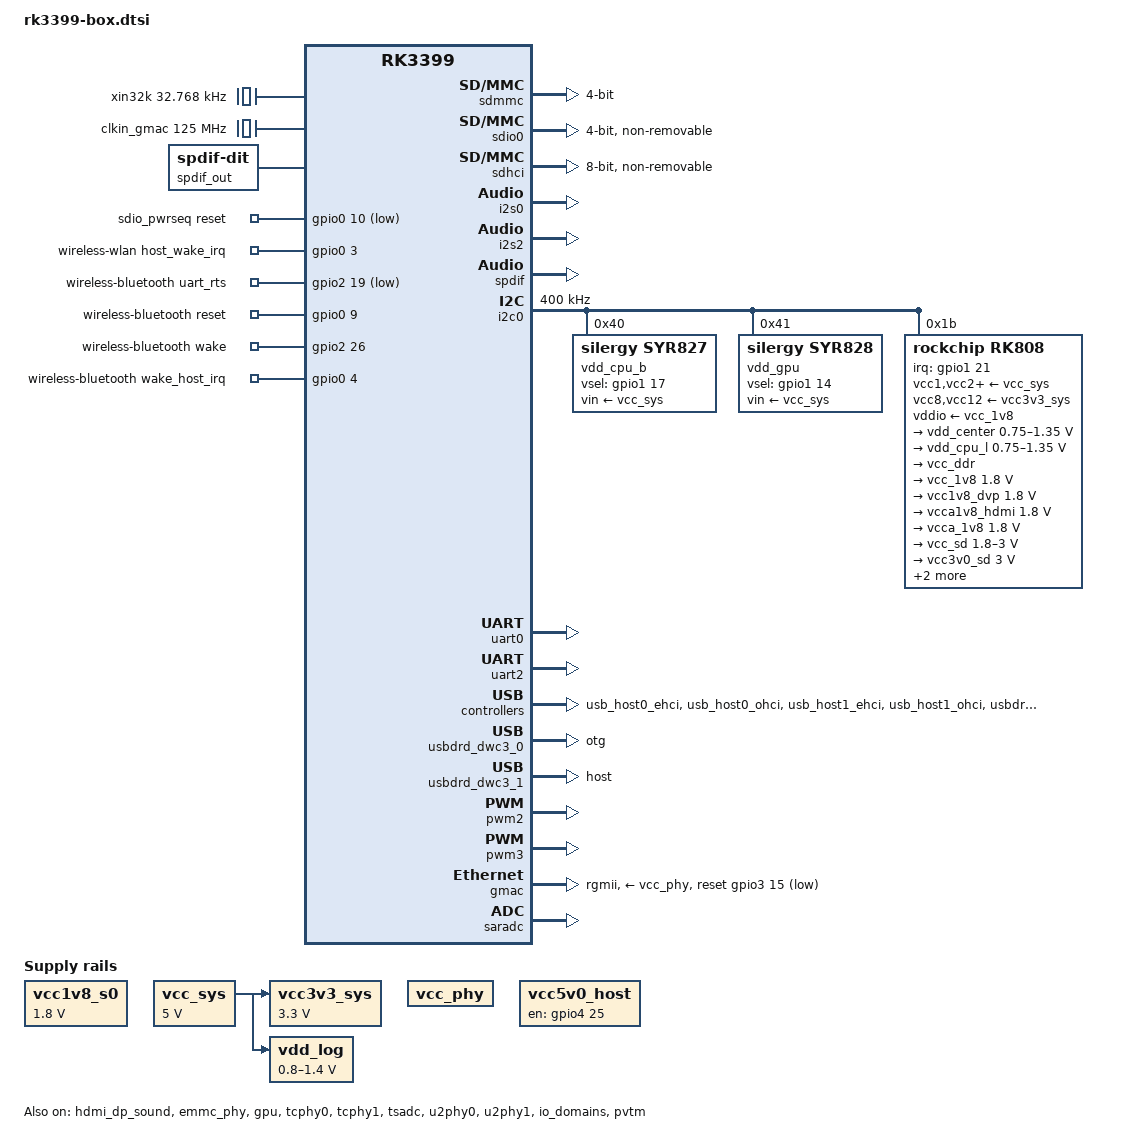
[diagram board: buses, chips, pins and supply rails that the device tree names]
// SPDX-License-Identifier: (GPL-2.0+ OR MIT)
/*
 * Copyright (c) 2022 Rockchip Electronics Co., Ltd.
 *
 */

#include <dt-bindings/pwm/pwm.h>
#include <dt-bindings/input/input.h>
#include "rk3399.dtsi"
#include "rk3399-android.dtsi"
#include "rk3399-opp.dtsi"

/ {
	compatible = "rockchip,rk3399-box","rockchip,rk3399";

	vcc1v8_s0: vcc1v8-s0 {
		compatible = "regulator-fixed";
		regulator-name = "vcc1v8_s0";
		regulator-min-microvolt = <1800000>;
		regulator-max-microvolt = <1800000>;
		regulator-always-on;
	};

	vcc_sys: vcc-sys {
		compatible = "regulator-fixed";
		regulator-name = "vcc_sys";
		regulator-min-microvolt = <5000000>;
		regulator-max-microvolt = <5000000>;
		regulator-always-on;
	};

	vcc_phy: vcc-phy-regulator {
		compatible = "regulator-fixed";
		regulator-name = "vcc_phy";
		regulator-always-on;
		regulator-boot-on;
	};

	vcc3v3_sys: vcc3v3-sys {
		compatible = "regulator-fixed";
		regulator-name = "vcc3v3_sys";
		regulator-min-microvolt = <3300000>;
		regulator-max-microvolt = <3300000>;
		regulator-always-on;
		vin-supply = <&vcc_sys>;
	};

	vcc5v0_host: vcc5v0-host-regulator {
		compatible = "regulator-fixed";
		enable-active-high;
		gpio = <&gpio4 25 GPIO_ACTIVE_HIGH>;
		pinctrl-names = "default";
		pinctrl-0 = <&host_vbus_drv>;
		regulator-name = "vcc5v0_host";
		regulator-always-on;
	};

	vdd_log: vdd-log {
		compatible = "pwm-regulator";
		pwms = <&pwm2 0 25000 1>;
		regulator-name = "vdd_log";
		regulator-min-microvolt = <800000>;
		regulator-max-microvolt = <1400000>;
		regulator-always-on;
		regulator-boot-on;

		/* for rockchip boot on */
		rockchip,pwm_id= <2>;
		rockchip,pwm_voltage = <900000>;

		vin-supply = <&vcc_sys>;
	};

	xin32k: xin32k {
		compatible = "fixed-clock";
		clock-frequency = <32768>;
		clock-output-names = "xin32k";
		#clock-cells = <0>;
	};

	clkin_gmac: external-gmac-clock {
		compatible = "fixed-clock";
		clock-frequency = <125000000>;
		clock-output-names = "clkin_gmac";
		#clock-cells = <0>;
	};

	spdif-sound {
		status = "okay";
		compatible = "simple-audio-card";
		simple-audio-card,name = "ROCKCHIP,SPDIF";
		simple-audio-card,cpu {
			sound-dai = <&spdif>;
		};
		simple-audio-card,codec {
			sound-dai = <&spdif_out>;
		};
	};

	spdif_out: spdif-out {
		status = "okay";
		compatible = "linux,spdif-dit";
		#sound-dai-cells = <0>;
	};

	sdio_pwrseq: sdio-pwrseq {
		compatible = "mmc-pwrseq-simple";
		clocks = <&rk808 1>;
		clock-names = "ext_clock";
		pinctrl-names = "default";
		pinctrl-0 = <&wifi_enable_h>;

		/*
		 * On the module itself this is one of these (depending
		 * on the actual card populated):
		 * - SDIO_RESET_L_WL_REG_ON
		 * - PDN (power down when low)
		 */
		reset-gpios = <&gpio0 10 GPIO_ACTIVE_LOW>;
	};

	wireless-wlan {
		compatible = "wlan-platdata";
		rockchip,grf = <&grf>;
		wifi_chip_type = "ap6354";
		sdio_vref = <1800>;
		WIFI,host_wake_irq = <&gpio0 3 GPIO_ACTIVE_HIGH>;
		status = "okay";
	};

	wireless-bluetooth {
		compatible = "bluetooth-platdata";
		clocks = <&rk808 1>;
		clock-names = "ext_clock";
		/* wifi-bt-power-toggle; */
		uart_rts_gpios = <&gpio2 19 GPIO_ACTIVE_LOW>;
		pinctrl-names = "default", "rts_gpio";
		pinctrl-0 = <&uart0_rts>;
		pinctrl-1 = <&uart0_gpios>;
		/* BT,power_gpio  = <&gpio3 19 GPIO_ACTIVE_HIGH>; */
		BT,reset_gpio    = <&gpio0 9 GPIO_ACTIVE_HIGH>;
		BT,wake_gpio     = <&gpio2 26 GPIO_ACTIVE_HIGH>;
		BT,wake_host_irq = <&gpio0 4 GPIO_ACTIVE_HIGH>;
		status = "okay";
	};

	test-power {
		status = "okay";
	};
};

&hdmi_dp_sound {
	status = "okay";
};

&hdmi {
	pinctrl-names = "default";
	pinctrl-0 = <&hdmi_i2c_xfer>, <&hdmi_cec>;
};

&sdmmc {
	clock-frequency = <100000000>;
	clock-freq-min-max = <100000 100000000>;
	no-sdio;
	no-mmc;
	bus-width = <4>;
	cap-mmc-highspeed;
	cap-sd-highspeed;
	disable-wp;
	num-slots = <1>;
	//sd-uhs-sdr104;
	vqmmc-supply = <&vcc_sd>;
	pinctrl-names = "default";
	pinctrl-0 = <&sdmmc_clk &sdmmc_cmd &sdmmc_cd &sdmmc_bus4>;
	card-detect-delay = <800>;
	status = "okay";
};

&sdio0 {
	clock-frequency = <100000000>;
	clock-freq-min-max = <200000 100000000>;
	no-sd;
	no-mmc;
	bus-width = <4>;
	disable-wp;
	cap-sd-highspeed;
	cap-sdio-irq;
	keep-power-in-suspend;
	mmc-pwrseq = <&sdio_pwrseq>;
	non-removable;
	num-slots = <1>;
	pinctrl-names = "default";
	pinctrl-0 = <&sdio0_bus4 &sdio0_cmd &sdio0_clk>;
	sd-uhs-sdr104;
	status = "okay";
};

&emmc_phy {
	status = "okay";
};

&sdhci {
	bus-width = <8>;
	mmc-hs400-1_8v;
	no-sdio;
	no-sd;
	non-removable;
	mmc-hs400-enhanced-strobe;
	status = "okay";
};

&i2s0 {
	status = "okay";
	rockchip,i2s-broken-burst-len;
	rockchip,playback-channels = <8>;
	rockchip,capture-channels = <8>;
	#sound-dai-cells = <0>;
};

&i2s2 {
	#sound-dai-cells = <0>;
};

&spdif {
	pinctrl-0 = <&spdif_bus_1>;
	status = "okay";
	#sound-dai-cells = <0>;
};

&i2c0 {
	status = "okay";
	i2c-scl-rising-time-ns = <168>;
	i2c-scl-falling-time-ns = <4>;
	clock-frequency = <400000>;

	vdd_cpu_b: syr827@40 {
		compatible = "silergy,syr827";
		reg = <0x40>;
		regulator-compatible = "fan53555-reg";
		pinctrl-0 = <&vsel1_gpio>;
		vsel-gpios = <&gpio1 17 GPIO_ACTIVE_HIGH>;
		regulator-name = "vdd_cpu_b";
		regulator-min-microvolt = <712500>;
		regulator-max-microvolt = <1500000>;
		regulator-ramp-delay = <1000>;
		fcs,suspend-voltage-selector = <1>;
		regulator-always-on;
		regulator-boot-on;
		vin-supply = <&vcc_sys>;
		regulator-state-mem {
			regulator-off-in-suspend;
		};
	};

	vdd_gpu: syr828@41 {
		compatible = "silergy,syr828";
		reg = <0x41>;
		regulator-compatible = "fan53555-reg";
		pinctrl-0 = <&vsel2_gpio>;
		vsel-gpios = <&gpio1 14 GPIO_ACTIVE_HIGH>;
		regulator-name = "vdd_gpu";
		regulator-min-microvolt = <712500>;
		regulator-max-microvolt = <1500000>;
		regulator-ramp-delay = <1000>;
		fcs,suspend-voltage-selector = <1>;
		regulator-always-on;
		regulator-boot-on;
		vin-supply = <&vcc_sys>;
		regulator-initial-mode = <1>; /* 1:force PWM 2:auto */
		regulator-state-mem {
			regulator-off-in-suspend;
		};
	};

	rk808: pmic@1b {
		compatible = "rockchip,rk808";
		reg = <0x1b>;
		interrupt-parent = <&gpio1>;
		interrupts = <21 IRQ_TYPE_LEVEL_LOW>;
		pinctrl-names = "default";
		pinctrl-0 = <&pmic_int_l>;
		rockchip,system-power-controller;
		wakeup-source;
		#clock-cells = <1>;
		clock-output-names = "rk808-clkout1", "rk808-clkout2";

		vcc1-supply = <&vcc_sys>;
		vcc2-supply = <&vcc_sys>;
		vcc3-supply = <&vcc_sys>;
		vcc4-supply = <&vcc_sys>;
		vcc6-supply = <&vcc_sys>;
		vcc7-supply = <&vcc_sys>;
		vcc8-supply = <&vcc3v3_sys>;
		vcc9-supply = <&vcc_sys>;
		vcc10-supply = <&vcc_sys>;
		vcc11-supply = <&vcc_sys>;
		vcc12-supply = <&vcc3v3_sys>;
		vddio-supply = <&vcc_1v8>;

		regulators {
			vdd_center: DCDC_REG1 {
				regulator-name = "vdd_center";
				regulator-min-microvolt = <750000>;
				regulator-max-microvolt = <1350000>;
				regulator-ramp-delay = <6001>;
				regulator-always-on;
				regulator-boot-on;
				regulator-state-mem {
					regulator-off-in-suspend;
				};
			};

			vdd_cpu_l: DCDC_REG2 {
				regulator-name = "vdd_cpu_l";
				regulator-min-microvolt = <750000>;
				regulator-max-microvolt = <1350000>;
				regulator-ramp-delay = <6001>;
				regulator-always-on;
				regulator-boot-on;
				regulator-state-mem {
					regulator-off-in-suspend;
				};
			};

			vcc_ddr: DCDC_REG3 {
				regulator-name = "vcc_ddr";
				regulator-always-on;
				regulator-boot-on;
				regulator-state-mem {
					regulator-on-in-suspend;
				};
			};

			vcc_1v8: DCDC_REG4 {
				regulator-name = "vcc_1v8";
				regulator-min-microvolt = <1800000>;
				regulator-max-microvolt = <1800000>;
				regulator-always-on;
				regulator-boot-on;
				regulator-state-mem {
					regulator-on-in-suspend;
					regulator-suspend-microvolt = <1800000>;
				};
			};

			vcc1v8_dvp: LDO_REG1 {
				regulator-name = "vcc1v8_dvp";
				regulator-min-microvolt = <1800000>;
				regulator-max-microvolt = <1800000>;
				regulator-always-on;
				regulator-boot-on;
				regulator-state-mem {
					regulator-on-in-suspend;
					regulator-suspend-microvolt = <1800000>;
				};
			};

			vcca1v8_hdmi: LDO_REG2 {
				regulator-name = "vcca1v8_hdmi";
				regulator-min-microvolt = <1800000>;
				regulator-max-microvolt = <1800000>;
				regulator-always-on;
				regulator-boot-on;
				regulator-state-mem {
					regulator-on-in-suspend;
					regulator-suspend-microvolt = <1800000>;
				};
			};

			vcca_1v8: LDO_REG3 {
				regulator-name = "vcca_1v8";
				regulator-min-microvolt = <1800000>;
				regulator-max-microvolt = <1800000>;
				regulator-always-on;
				regulator-boot-on;
				regulator-state-mem {
					regulator-on-in-suspend;
					regulator-suspend-microvolt = <1800000>;
				};
			};

			vcc_sd: LDO_REG4 {
				regulator-name = "vcc_sd";
				regulator-min-microvolt = <1800000>;
				regulator-max-microvolt = <3000000>;
				regulator-always-on;
				regulator-boot-on;
				regulator-state-mem {
					regulator-on-in-suspend;
					regulator-suspend-microvolt = <3000000>;
				};
			};

			vcc3v0_sd: LDO_REG5 {
				regulator-name = "vcc3v0_sd";
				regulator-min-microvolt = <3000000>;
				regulator-max-microvolt = <3000000>;
				regulator-always-on;
				regulator-boot-on;
				regulator-state-mem {
					regulator-on-in-suspend;
					regulator-suspend-microvolt = <3000000>;
				};
			};

			vcc_1v5: LDO_REG6 {
				regulator-name = "vcc_1v5";
				regulator-min-microvolt = <1500000>;
				regulator-max-microvolt = <1500000>;
				regulator-always-on;
				regulator-boot-on;
				regulator-state-mem {
					regulator-on-in-suspend;
					regulator-suspend-microvolt = <1500000>;
				};
			};

			vcca0v9_hdmi: LDO_REG7 {
				regulator-name = "vcca0v9_hdmi";
				regulator-min-microvolt = <900000>;
				regulator-max-microvolt = <900000>;
				regulator-always-on;
				regulator-boot-on;
				regulator-state-mem {
					regulator-on-in-suspend;
					regulator-suspend-microvolt = <900000>;
				};
			};

			vcc_3v0: LDO_REG8 {
				regulator-name = "vcc_3v0";
				regulator-min-microvolt = <3000000>;
				regulator-max-microvolt = <3000000>;
				regulator-always-on;
				regulator-boot-on;
				regulator-state-mem {
					regulator-on-in-suspend;
					regulator-suspend-microvolt = <3000000>;
				};
			};

			vcc3v3_s3: SWITCH_REG1 {
				regulator-name = "vcc3v3_s3";
				regulator-always-on;
				regulator-boot-on;
				regulator-state-mem {
					regulator-on-in-suspend;
				};
			};

			vcc3v3_s0: SWITCH_REG2 {
				regulator-name = "vcc3v3_s0";
				regulator-always-on;
				regulator-boot-on;
				regulator-state-mem {
					regulator-on-in-suspend;
				};
			};
		};
	};
};

&cpu_l0 {
	cpu-supply = <&vdd_cpu_l>;
};

&cpu_l1 {
	cpu-supply = <&vdd_cpu_l>;
};

&cpu_l2 {
	cpu-supply = <&vdd_cpu_l>;
};

&cpu_l3 {
	cpu-supply = <&vdd_cpu_l>;
};

&cpu_b0 {
	cpu-supply = <&vdd_cpu_b>;
};

&cpu_b1 {
	cpu-supply = <&vdd_cpu_b>;
};

&firmware_android {
	compatible = "android,firmware";
	fstab {
		compatible = "android,fstab";
		system {
			compatible = "android,system";
			dev = "/dev/block/by-name/system";
			type = "ext4";
			mnt_flags = "ro,barrier=1,inode_readahead_blks=8";
			fsmgr_flags = "wait,verify";
		};
		vendor {
			compatible = "android,vendor";
			dev = "/dev/block/by-name/vendor";
			type = "ext4";
			mnt_flags = "ro,barrier=1,inode_readahead_blks=8";
			fsmgr_flags = "wait,verify";
		};
	};
};

&gpu {
	status = "okay";
	mali-supply = <&vdd_gpu>;
};

&threshold {
	temperature = <85000>;
};

&target {
	temperature = <100000>;
};

&soc_crit {
	temperature = <115000>;
};

&tcphy0 {
	extcon = <&fusb0>;
	status = "okay";
};

&tcphy1 {
	status = "okay";
};

&tsadc {
	/* tshut mode 0:CRU 1:GPIO */
	rockchip,hw-tshut-mode = <1>;
	/* tshut polarity 0:LOW 1:HIGH */
	rockchip,hw-tshut-polarity = <1>;
	rockchip,hw-tshut-temp = <120000>;
	status = "okay";
};

&u2phy0 {
	status = "okay";
	extcon = <&fusb0>;

	u2phy0_otg: otg-port {
		status = "okay";
	};

	u2phy0_host: host-port {
		phy-supply = <&vcc5v0_host>;
		status = "okay";
	};
};

&u2phy1 {
	status = "okay";

	u2phy1_otg: otg-port {
		status = "okay";
	};

	u2phy1_host: host-port {
		phy-supply = <&vcc5v0_host>;
		status = "okay";
	};
};

&uart0 {
	pinctrl-names = "default";
	pinctrl-0 = <&uart0_xfer &uart0_cts>;
	status = "okay";
};

&uart2 {
	status = "okay";
};

&usb_host0_ehci {
	status = "okay";
};

&usb_host0_ohci {
	status = "okay";
};

&usb_host1_ehci {
	status = "okay";
};

&usb_host1_ohci {
	status = "okay";
};

&usbdrd3_0 {
	status = "okay";
};

&usbdrd_dwc3_0 {
	dr_mode = "otg";
	status = "okay";
	extcon = <&fusb0>;
};

&usbdrd3_1 {
	status = "okay";
};

&usbdrd_dwc3_1 {
	dr_mode = "host";
	status = "okay";
};

&pwm2 {
	status = "okay";
	pinctrl-names = "active";
	pinctrl-0 = <&pwm2_pin_pull_down>;
};

&pwm3 {
	status = "okay";

	interrupts = <GIC_SPI 61 IRQ_TYPE_LEVEL_HIGH 0>;
	compatible = "rockchip,remotectl-pwm";
	remote_pwm_id = <3>;
	handle_cpu_id = <1>;
	remote_support_psci = <1>;

	ir_key1 {
		rockchip,usercode = <0x4040>;
		rockchip,key_table =
			<0xf2	KEY_REPLY>,
			<0xba	KEY_BACK>,
			<0xf4	KEY_UP>,
			<0xf1	KEY_DOWN>,
			<0xef	KEY_LEFT>,
			<0xee	KEY_RIGHT>,
			<0xbd	KEY_HOME>,
			<0xea	KEY_VOLUMEUP>,
			<0xe3	KEY_VOLUMEDOWN>,
			<0xe2	KEY_SEARCH>,
			<0xb2	KEY_POWER>,
			<0xbc	KEY_MUTE>,
			<0xec	KEY_MENU>,
			<0xbf	0x190>,
			<0xe0	0x191>,
			<0xe1	0x192>,
			<0xe9	183>,
			<0xe6	248>,
			<0xe8	185>,
			<0xe7	186>,
			<0xf0	388>,
			<0xbe	0x175>;
	};

	ir_key2 {
		rockchip,usercode = <0xff00>;
		rockchip,key_table =
			<0xf9	KEY_HOME>,
			<0xbf	KEY_BACK>,
			<0xfb	KEY_MENU>,
			<0xaa	KEY_REPLY>,
			<0xb9	KEY_UP>,
			<0xe9	KEY_DOWN>,
			<0xb8	KEY_LEFT>,
			<0xea	KEY_RIGHT>,
			<0xeb	KEY_VOLUMEDOWN>,
			<0xef	KEY_VOLUMEUP>,
			<0xf7	KEY_MUTE>,
			<0xe7	KEY_POWER>,
			<0xfc	KEY_POWER>,
			<0xa9	KEY_VOLUMEDOWN>,
			<0xa8	KEY_VOLUMEDOWN>,
			<0xe0	KEY_VOLUMEDOWN>,
			<0xa5	KEY_VOLUMEDOWN>,
			<0xab	183>,
			<0xb7	388>,
			<0xe8	388>,
			<0xf8	184>,
			<0xaf	185>,
			<0xed	KEY_VOLUMEDOWN>,
			<0xee	186>,
			<0xb3	KEY_VOLUMEDOWN>,
			<0xf1	KEY_VOLUMEDOWN>,
			<0xf2	KEY_VOLUMEDOWN>,
			<0xf3	KEY_SEARCH>,
			<0xb4	KEY_VOLUMEDOWN>,
			<0xbe	KEY_SEARCH>;
	};

	ir_key3 {
		rockchip,usercode = <0x1dcc>;
		rockchip,key_table =
			<0xee	KEY_REPLY>,
			<0xf0	KEY_BACK>,
			<0xf8	KEY_UP>,
			<0xbb	KEY_DOWN>,
			<0xef	KEY_LEFT>,
			<0xed	KEY_RIGHT>,
			<0xfc	KEY_HOME>,
			<0xf1	KEY_VOLUMEUP>,
			<0xfd	KEY_VOLUMEDOWN>,
			<0xb7	KEY_SEARCH>,
			<0xff	KEY_POWER>,
			<0xf3	KEY_MUTE>,
			<0xbf	KEY_MENU>,
			<0xf9	0x191>,
			<0xf5	0x192>,
			<0xb3	388>,
			<0xbe	KEY_1>,
			<0xba	KEY_2>,
			<0xb2	KEY_3>,
			<0xbd	KEY_4>,
			<0xf9	KEY_5>,
			<0xb1	KEY_6>,
			<0xfc	KEY_7>,
			<0xf8	KEY_8>,
			<0xb0	KEY_9>,
			<0xb6	KEY_0>,
			<0xb5	KEY_BACKSPACE>;
	};
};

&gmac {
	phy-supply = <&vcc_phy>;
	phy-mode = "rgmii";
	clock_in_out = "input";
	snps,reset-gpio = <&gpio3 15 GPIO_ACTIVE_LOW>;
	snps,reset-active-low;
	snps,reset-delays-us = <0 10000 50000>;
	assigned-clocks = <&cru SCLK_RMII_SRC>;
	assigned-clock-parents = <&clkin_gmac>;
	pinctrl-names = "default", "sleep";
	pinctrl-0 = <&rgmii_pins>;
	pinctrl-1 = <&rgmii_sleep_pins>;
	tx_delay = <0x28>;
	rx_delay = <0x11>;
	status = "okay";
};

&saradc {
	status = "okay";
};

&i2s2 {
	status = "okay";
};

&io_domains {
	status = "okay";

	bt656-supply = <&vcc1v8_s0>; /* bt656_gpio2ab_ms */
	audio-supply = <&vcc1v8_s0>; /* audio_gpio3d4a_ms */
	sdmmc-supply = <&vcc_sd>; /* sdmmc_gpio4b_ms */
	gpio1830-supply = <&vcc_3v0>; /* gpio1833_gpio4cd_ms */
};

&pinctrl {
	sdio-pwrseq {
		wifi_enable_h: wifi-enable-h {
			rockchip,pins =
				<0 RK_PB2 RK_FUNC_GPIO &pcfg_pull_none>;
		};
	};

	wireless-bluetooth {
		uart0_gpios: uart0-gpios {
			rockchip,pins =
				<2 RK_PC3 RK_FUNC_GPIO &pcfg_pull_none>;
		};
	};

	usb2 {
		host_vbus_drv: host-vbus-drv {
			rockchip,pins =
				<4 RK_PD1 RK_FUNC_GPIO &pcfg_pull_none>;
		};
	};

	pmic {
		pmic_int_l: pmic-int-l {
			rockchip,pins =
				<1 RK_PC5 RK_FUNC_GPIO &pcfg_pull_up>;
		};

		vsel1_gpio: vsel1-gpio {
			rockchip,pins =
				<1 RK_PC1 RK_FUNC_GPIO &pcfg_pull_down>;
		};

		vsel2_gpio: vsel2-gpio {
			rockchip,pins =
				<1 RK_PB6 RK_FUNC_GPIO &pcfg_pull_down>;
		};
	};

	gmac {
		rgmii_sleep_pins: rgmii-sleep-pins {
			rockchip,pins =
				<3 RK_PB7 RK_FUNC_GPIO &pcfg_output_low>;
		};
	};
};

&pvtm {
	status = "okay";
};

&pmu_pvtm {
	status = "okay";
};

&pmu_io_domains {
	status = "okay";
	pmu1830-supply = <&vcc_1v8>;
};

&rockchip_suspend {
	status = "okay";
	rockchip,sleep-debug-en = <0>;
	rockchip,sleep-mode-config = <
		(0
		| RKPM_SLP_ARMPD
		| RKPM_SLP_PERILPPD
		| RKPM_SLP_DDR_RET
		| RKPM_SLP_PLLPD
		| RKPM_SLP_CENTER_PD
		| RKPM_SLP_AP_PWROFF
		)
	>;
	rockchip,wakeup-config = <
		(0
		| RKPM_GPIO_WKUP_EN
		| RKPM_PWM_WKUP_EN
		)
	>;
	rockchip,pwm-regulator-config = <
		(0
		| PWM2_REGULATOR_EN
		)
	>;
	rockchip,power-ctrl =
		<&gpio1 17 GPIO_ACTIVE_HIGH>,
		<&gpio1 14 GPIO_ACTIVE_HIGH>;
};

&vopb {
	assigned-clocks = <&cru DCLK_VOP0_DIV>;
	assigned-clock-parents = <&cru PLL_VPLL>;
};

&vopl {
	assigned-clocks = <&cru DCLK_VOP1_DIV>;
	assigned-clock-parents = <&cru PLL_CPLL>;
};
